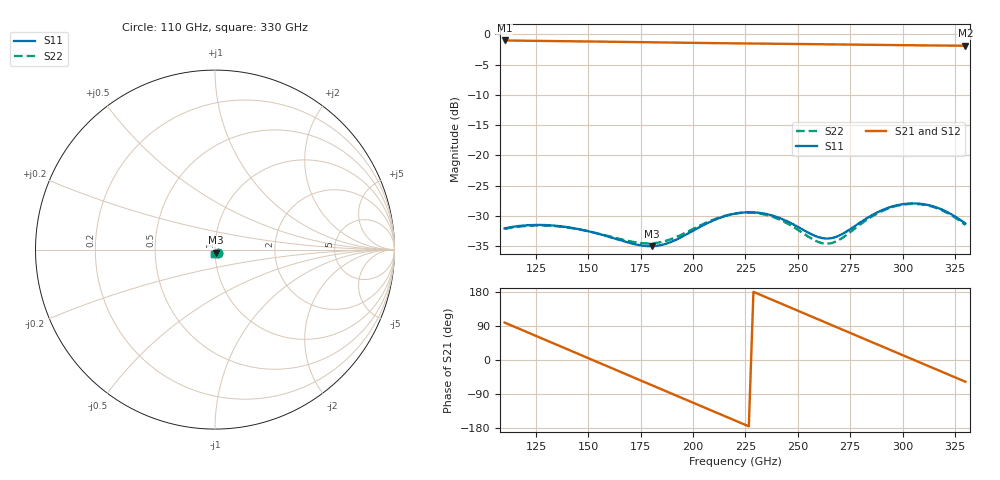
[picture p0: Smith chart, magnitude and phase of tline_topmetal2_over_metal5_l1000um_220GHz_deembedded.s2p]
! Created with skrf 2.2.0 (http://scikit-rf.org).
# GHz S DB R 50.0
! Port[1] = P1
! Port[2] = P2
!freq dBS11 angS11 dBS21 angS21 dBS12 angS12 dBS22 angS22
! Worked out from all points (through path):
!   101 points, 110 GHz to 330 GHz, reference 50 ohm
!   highest |S21| = -1.01 dB at 110 GHz (marker M1); lowest = -1.9 dB at 330 GHz (marker M2)
!   group delay of S21, straight-line fit = 6.52 ps
!   lowest |S11| = -35.0 dB at 180.4 GHz (marker M3), VSWR 1.04, Z = 50.5 - j1.72 ohm
!   |S11| at or under -10 dB: start of sweep to end of sweep
!   |S22| runs from -34.6 to -28.0 dB; largest |S21 - S12| = 1e-13
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110  -32.04 -55.3  -1.01 98.8  -1.01 98.8  -32.15 -55.3
118.8  -31.58 -62.5  -1.05 78.1  -1.05 78.1  -31.68 -62.3
127.6  -31.48 -69.3  -1.09 57.4  -1.09 57.4  -31.56 -69.0
138.6  -31.77 -76.9  -1.13 31.5  -1.13 31.5  -31.83 -76.3
147.4  -32.31 -81.5  -1.17 10.8  -1.17 10.8  -32.33 -80.6
162.8  -33.74 -84.1  -1.23 -25.4  -1.23 -25.4  -33.60 -82.8
180.4  -34.98 -72.7  -1.31 -66.8  -1.31 -66.8  -34.51 -72.8
184.8  -34.79 -67.9  -1.34 -77.1  -1.34 -77.1  -34.30 -68.8
200.2  -32.38 -58.9  -1.41 -113.2  -1.41 -113.2  -32.10 -62.0
211.2  -30.51 -63.6  -1.45 -139.0  -1.45 -139.0  -30.40 -67.0
220  -29.60 -71.6  -1.49 -159.6  -1.49 -159.6  -29.60 -75.1
228.8  -29.39 -81.0  -1.52 179.8  -1.52 179.8  -29.47 -84.5
237.6  -29.90 -89.5  -1.55 159.2  -1.55 159.2  -30.09 -93.3
248.6  -31.52 -95.1  -1.59 133.4  -1.59 133.4  -31.96 -99.0
257.4  -33.16 -90.5  -1.62 112.7  -1.62 112.7  -33.90 -93.4
266.2  -33.65 -76.7  -1.66 92.1  -1.66 92.1  -34.47 -76.4
275  -32.17 -65.6  -1.69 71.4  -1.69 71.4  -32.66 -63.6
283.8  -30.18 -64.8  -1.72 50.8  -1.72 50.8  -30.42 -63.0
294.8  -28.45 -72.9  -1.77 25.1  -1.77 25.1  -28.56 -71.9
303.6  -27.92 -82.3  -1.80 4.5  -1.80 4.5  -28.00 -81.9
312.4  -28.20 -91.9  -1.83 -16.1  -1.83 -16.1  -28.28 -91.9
330  -31.24 -100.0  -1.89 -57.3  -1.89 -57.3  -31.48 -100.8
